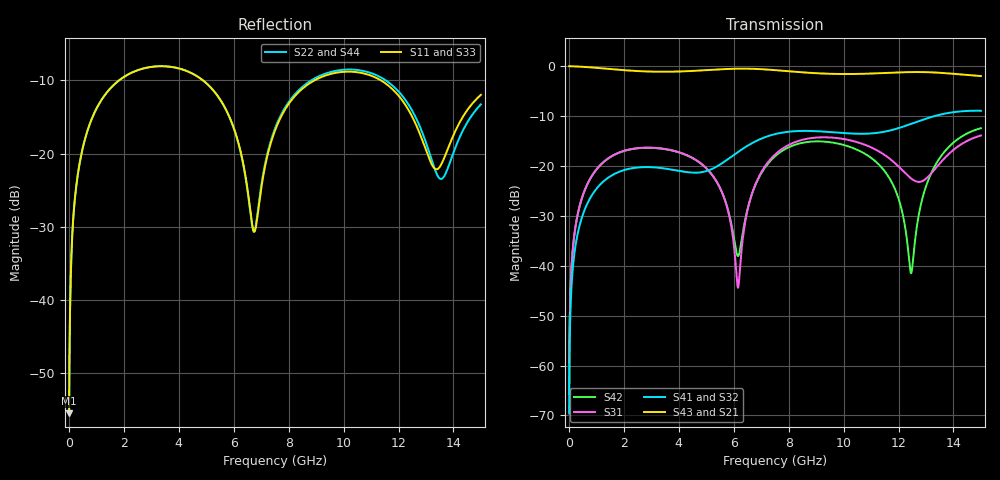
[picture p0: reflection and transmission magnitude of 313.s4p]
! Created with skrf 1.8.0 (http://scikit-rf.org).
# GHz S RI R 50.0
!freq ReS11 ImS11 ReS12 ImS12 ReS13 ImS13
! ReS14 ImS14
! ReS21 ImS21 ReS22 ImS22 ReS23 ImS23
! ReS24 ImS24
! ReS31 ImS31 ReS32 ImS32 ReS33 ImS33
! ReS34 ImS34
! ReS41 ImS41 ReS42 ImS42 ReS43 ImS43
! ReS44 ImS44
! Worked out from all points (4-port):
!   2499 points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, 5 MHz to 15 GHz, reference 50 ohm
!   strongest paths, dB at 5 MHz, 3.476 GHz, 7.19 GHz, 11.1 GHz, 15 GHz:
!     S43: 0.0, -1.1, -0.7, -1.5, -2.0
!     S21: 0.0, -1.1, -0.7, -1.5, -2.0
!     S41: -69.6, -20.5, -14.1, -13.5, -8.9
!     S32: -69.6, -20.5, -14.1, -13.4, -8.9
!     S31: -65.6, -16.6, -19.7, -16.5, -13.9
!     S42: -65.6, -16.6, -19.9, -18.8, -12.4
!   lowest |S11| = -55.5 dB at 5 MHz (marker M1), VSWR 1.00, Z = 50.1 + j0.102 ohm
!   |S11| at or under -10 dB: start of sweep to 1.821 GHz; 4.882 GHz to 8.935 GHz (4.054 GHz wide, 58.7 % of centre); 11.36 GHz to end of sweep
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0.005  0.00134 0.00102  0.9986 -0.0026  6.58e-05 0.000518  -6.4e-05 -0.000326
       0.9986 -0.0026  0.00134 0.00102  -6.4e-05 -0.000326  6.58e-05 0.000518
       6.58e-05 0.000518  -6.4e-05 -0.000326  0.00134 0.00102  0.9986 -0.0026
       -6.4e-05 -0.000326  6.58e-05 0.000518  0.9986 -0.0026  0.00134 0.00102
0.3626511  0.0212 0.0778  0.9709 -0.1878  0.00968 0.0359  -0.00803 -0.0224
           0.9709 -0.1878  0.0213 0.0778  -0.00804 -0.0224  0.0096 0.0359
           0.00968 0.0359  -0.00804 -0.0224  0.0212 0.0778  0.9709 -0.1878
           -0.00803 -0.0224  0.0096 0.0359  0.9709 -0.1878  0.0213 0.0778
1.825761  0.257 0.1852  0.5778 -0.7142  0.1208 0.0627  -0.0866 -0.0108
          0.5778 -0.7142  0.2574 0.1849  -0.0866 -0.0108  0.1198 0.064
          0.1208 0.0627  -0.0866 -0.0108  0.2569 0.1852  0.5779 -0.7141
          -0.0866 -0.0108  0.1198 0.064  0.5779 -0.7141  0.2573 0.1849
6.684035  0.029 -0.0132  -0.9364 -0.0791  0.00688 0.0542  -0.0103 0.1698
          -0.9364 -0.0791  0.0289 -0.0113  -0.00999 0.1698  -0.00422 0.0542
          0.00688 0.0542  -0.00999 0.1698  0.0294 -0.0111  -0.9364 -0.0788
          -0.0103 0.1698  -0.00422 0.0542  -0.9364 -0.0788  0.028 -0.00932
10.54815  0.356 -0.0447  0.049 0.8343  0.126 -0.116  0.1974 -0.0716
          0.049 0.8343  0.3671 -0.0594  0.1973 -0.072  0.1277 -0.064
          0.126 -0.116  0.1973 -0.072  0.3568 -0.0448  0.0474 0.8341
          0.1974 -0.0716  0.1277 -0.064  0.0474 0.8341  0.3682 -0.0579
12.46144  0.1369 -0.1235  0.6974 0.5227  -0.0589 -0.046  0.1533 -0.2151
          0.6974 0.5227  0.1356 -0.1497  0.1526 -0.2156  -0.00817 -0.00199
          -0.0589 -0.046  0.1526 -0.2156  0.1376 -0.1235  0.6958 0.5248
          0.1533 -0.2151  -0.00817 -0.00199  0.6958 0.5248  0.1363 -0.1496
15  0.2215 0.1207  0.6772 -0.4161  0.1589 0.1241  -0.2374 -0.2667
    0.6772 -0.4161  0.189 0.1065  -0.2383 -0.2659  0.2185 0.0966
    0.1589 0.1241  -0.2383 -0.2659  0.2208 0.1199  0.6799 -0.4126
    -0.2374 -0.2667  0.2185 0.0966  0.6799 -0.4126  0.1869 0.1073
